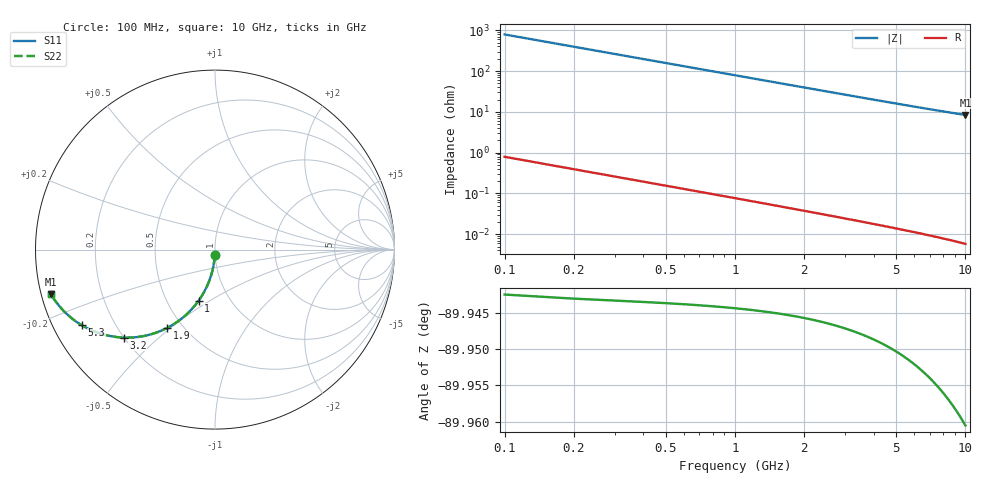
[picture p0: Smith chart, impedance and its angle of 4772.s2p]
# Hz S RI R 50.00
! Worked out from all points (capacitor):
!   100 points, 100 MHz to 10 GHz, reference 50 ohm
!   read as one part in shunt: C = 2.02 pF near 100 MHz
!   lowest |Z| = 8.39 ohm at 10 GHz (marker M1)
!   S11 on the Smith chart (normalised r, x): 100 MHz: 1.00, -0.06; 1 GHz: 0.71, -0.45; 1.9 GHz: 0.41, -0.49; 3.2 GHz: 0.20, -0.39; 5.3 GHz: 0.08, -0.26; 10 GHz: 0.03, -0.13
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1e8  -0.000947 -0.0314  0.9989 -0.032  0.9989 -0.032  -0.000947 -0.0314
2e8  -0.00399 -0.0627  0.9958 -0.0638  0.9958 -0.0638  -0.00399 -0.0627
3e8  -0.00899 -0.0936  0.9908 -0.0953  0.9908 -0.0953  -0.00899 -0.0936
4e8  -0.0159 -0.1239  0.9839 -0.1261  0.9839 -0.1261  -0.0159 -0.1239
5e8  -0.0246 -0.1534  0.9752 -0.1563  0.9752 -0.1563  -0.0246 -0.1534
6e8  -0.0351 -0.1821  0.9647 -0.1855  0.9647 -0.1855  -0.0351 -0.1821
7e8  -0.0472 -0.2098  0.9526 -0.2138  0.9526 -0.2138  -0.0472 -0.2098
8e8  -0.0608 -0.2363  0.939 -0.2408  0.939 -0.2408  -0.0608 -0.2363
1e9  -0.0918 -0.2856  0.908 -0.2912  0.908 -0.2912  -0.0918 -0.2856
1.2e9  -0.127 -0.3292  0.8727 -0.336  0.8727 -0.336  -0.127 -0.3292
1.4e9  -0.1653 -0.3671  0.8344 -0.3751  0.8344 -0.3751  -0.1653 -0.3671
1.8e9  -0.2467 -0.4256  0.753 -0.4358  0.753 -0.4358  -0.2467 -0.4256
1.9e9  -0.2674 -0.4368  0.7324 -0.4476  0.7324 -0.4476  -0.2674 -0.4368
2.5e9  -0.3874 -0.4796  0.6123 -0.4938  0.6123 -0.4938  -0.3874 -0.4796
3.2e9  -0.5093 -0.4903  0.4903 -0.5085  0.4903 -0.5085  -0.5093 -0.4903
3.4e9  -0.5397 -0.4882  0.4599 -0.5076  0.4599 -0.5076  -0.5397 -0.4882
4.2e9  -0.6421 -0.4667  0.3574 -0.4908  0.3574 -0.4908  -0.6421 -0.4667
5.1e9  -0.7264 -0.4304  0.2729 -0.4598  0.2729 -0.4598  -0.7264 -0.4304
5.3e9  -0.7416 -0.4217  0.2577 -0.4523  0.2577 -0.4523  -0.7416 -0.4217
6.7e9  -0.8221 -0.3619  0.1769 -0.401  0.1769 -0.401  -0.8221 -0.3619
8.4e9  -0.8802 -0.2985  0.1184 -0.3482  0.1184 -0.3482  -0.8802 -0.2985
1e10  -0.9133 -0.2494  0.0847 -0.3093  0.0847 -0.3093  -0.9133 -0.2494
